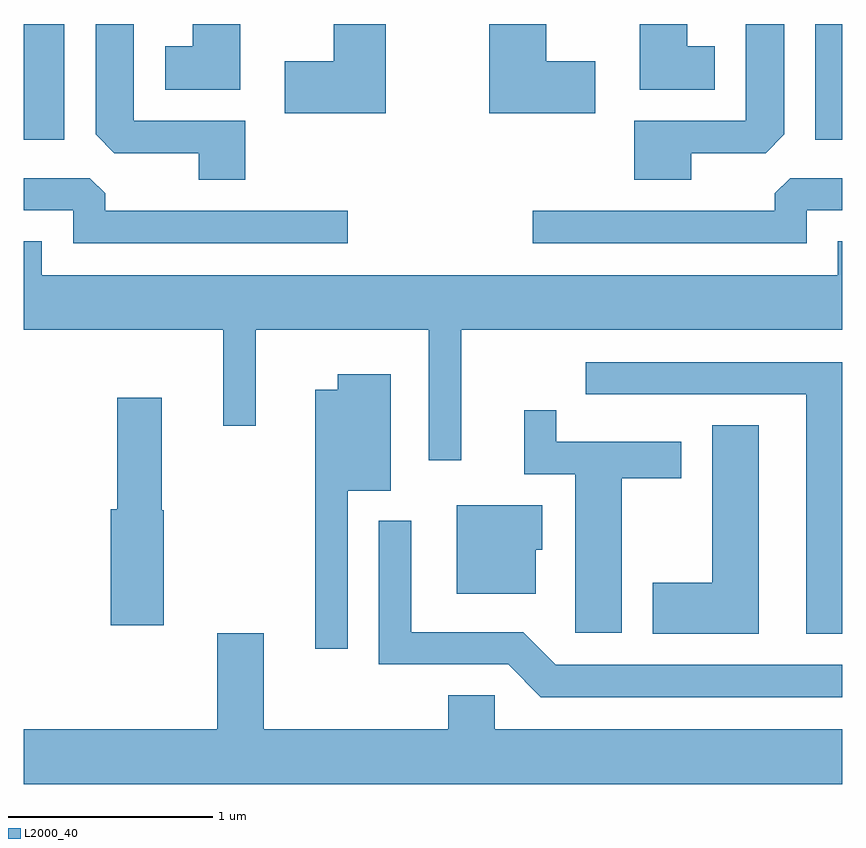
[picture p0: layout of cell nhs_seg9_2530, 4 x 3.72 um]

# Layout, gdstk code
import gdstk
lib = gdstk.Library(unit=1e-6, precision=1e-09)
def R(c, l, rs):  # rectangles x0, y0, x1, y1
    for r in rs: c.add(gdstk.rectangle(r[:2], r[2:], *l))
def P(c, l, *ps):  # polygons
    for p in ps: c.add(gdstk.Polygon(p, *l))
L2000_40 = (2000, 40)

nhs_seg9_2530 = lib.new_cell('nhs_seg9_2530')
R(nhs_seg9_2530, L2000_40, [(259.611,1983.866,259.809,1984.432), (263.481,1983.866,263.611,1984.432)])
P(nhs_seg9_2530, L2000_40, [(260.694,1983.959),(260.149,1983.959),(260.149,1984.432),(259.961,1984.432),(259.961,1983.892),(260.052,1983.801),(260.466,1983.801),(260.466,1983.671),(260.694,1983.671)],
  [(262.404,1984.249),(262.164,1984.249),(262.164,1984.432),(261.886,1984.432),(261.886,1983.996),(262.404,1983.996)],
  [(260.669,1984.432),(260.436,1984.432),(260.436,1984.324),(260.301,1984.324),(260.301,1984.111),(260.669,1984.111)],
  [(261.379,1984.432),(261.126,1984.432),(261.126,1984.249),(260.886,1984.249),(260.886,1983.996),(261.379,1983.996)],
  [(262.874,1983.801),(263.239,1983.801),(263.329,1983.892),(263.329,1984.432),(263.141,1984.432),(263.141,1983.959),(262.596,1983.959),(262.596,1983.671),(262.874,1983.671)],
  [(262.989,1984.324),(262.854,1984.324),(262.854,1984.432),(262.621,1984.432),(262.621,1984.111),(262.989,1984.111)],
  [(263.439,1983.521),(263.611,1983.521),(263.611,1983.679),(263.357,1983.679),(263.281,1983.604),(263.281,1983.519),(262.098,1983.519),(262.098,1983.361),(263.439,1983.361)],
  [(261.193,1983.519),(260.009,1983.519),(260.009,1983.604),(259.933,1983.679),(259.611,1983.679),(259.611,1983.521),(259.851,1983.521),(259.851,1983.361),(261.193,1983.361)],
  [(261.749,1982.936),(263.611,1982.936),(263.611,1983.369),(263.591,1983.369),(263.591,1983.204),(259.699,1983.204),(259.699,1983.369),(259.611,1983.369),(259.611,1982.936),(260.586,1982.936),(260.586,1982.468),(260.744,1982.468),(260.744,1982.936),(261.591,1982.936),(261.591,1982.298),(261.749,1982.298)],
  [(263.611,1982.779),(262.358,1982.779),(262.358,1982.621),(263.436,1982.621),(263.436,1981.451),(263.611,1981.451)],
  [(261.194,1982.151),(261.404,1982.151),(261.404,1982.719),(261.146,1982.719),(261.146,1982.644),(261.036,1982.644),(261.036,1981.378),(261.194,1981.378)],
  [(260.294,1982.055),(260.284,1982.055),(260.284,1982.604),(260.066,1982.604),(260.066,1982.059),(260.036,1982.059),(260.036,1981.491),(260.294,1981.491)],
  [(262.534,1982.211),(262.824,1982.211),(262.824,1982.389),(262.214,1982.389),(262.214,1982.543),(262.056,1982.543),(262.056,1982.231),(262.306,1982.231),(262.306,1981.456),(262.534,1981.456)],
  [(263.204,1982.469),(262.976,1982.469),(262.976,1981.699),(262.686,1981.699),(262.686,1981.451),(263.204,1981.451)],
  [(262.114,1981.861),(262.144,1981.861),(262.144,1982.079),(261.726,1982.079),(261.726,1981.646),(262.114,1981.646)],
  [(263.611,1981.299),(262.212,1981.299),(262.052,1981.459),(261.504,1981.459),(261.504,1982.003),(261.346,1982.003),(261.346,1981.301),(261.979,1981.301),(262.139,1981.141),(263.611,1981.141)],
  [(263.611,1980.984),(261.914,1980.984),(261.914,1981.149),(261.686,1981.149),(261.686,1980.984),(260.784,1980.984),(260.784,1981.454),(260.556,1981.454),(260.556,1980.984),(259.611,1980.984),(259.611,1980.716),(263.611,1980.716)])

lib.write_gds('nhs_seg9_2530.gds')
